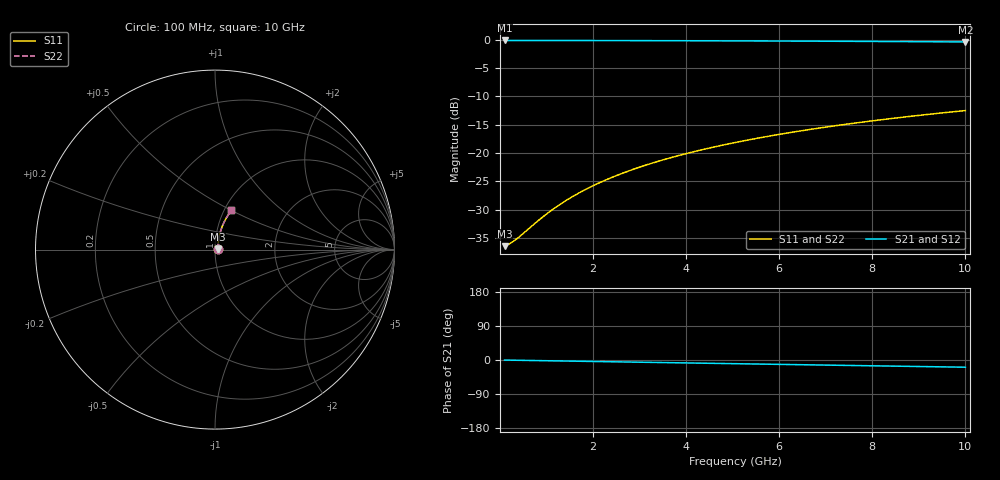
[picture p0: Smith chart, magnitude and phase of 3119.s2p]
# Hz S RI R 50.00
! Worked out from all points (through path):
!   100 points, 100 MHz to 10 GHz, reference 50 ohm
!   highest |S21| = -0.13 dB at 100 MHz (marker M1); lowest = -0.4 dB at 10 GHz (marker M2)
!   group delay of S21, straight-line fit = 5.29 ps
!   lowest |S11| = -36.5 dB at 100 MHz (marker M3), VSWR 1.03, Z = 51.5 + j0.247 ohm
!   |S11| at or under -10 dB: start of sweep to end of sweep
!   |S22| runs from -36.5 to -12.5 dB; largest |S21 - S12| = 0
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1e8  0.0148 0.0024  0.9852 -0.00333  0.9852 -0.00333  0.0148 0.0024
2e8  0.0149 0.0048  0.9851 -0.00666  0.9851 -0.00666  0.0149 0.0048
3e8  0.0151 0.0072  0.9849 -0.00999  0.9849 -0.00999  0.0151 0.0072
4e8  0.0152 0.0096  0.9848 -0.0133  0.9848 -0.0133  0.0152 0.0096
9e8  0.0159 0.0216  0.9841 -0.0299  0.9841 -0.0299  0.0159 0.0216
1.2e9  0.0165 0.0287  0.9834 -0.0399  0.9834 -0.0399  0.0165 0.0287
1.5e9  0.0172 0.0359  0.9827 -0.0498  0.9827 -0.0498  0.0172 0.0359
1.8e9  0.0181 0.043  0.9818 -0.0597  0.9818 -0.0597  0.0181 0.043
2.1e9  0.0191 0.0501  0.9807 -0.0696  0.9807 -0.0696  0.0191 0.0501
2.5e9  0.0206 0.0596  0.9791 -0.0828  0.9791 -0.0828  0.0206 0.0596
2.9e9  0.0224 0.0689  0.9772 -0.0959  0.9772 -0.0959  0.0224 0.0689
3.4e9  0.025 0.0806  0.9745 -0.1122  0.9745 -0.1122  0.025 0.0806
3.8e9  0.0273 0.0898  0.972 -0.1251  0.972 -0.1251  0.0273 0.0898
4.2e9  0.0299 0.0989  0.9693 -0.138  0.9693 -0.138  0.0299 0.0989
4.6e9  0.0327 0.108  0.9663 -0.1508  0.9663 -0.1508  0.0327 0.108
5.1e9  0.0366 0.1192  0.9622 -0.1666  0.9622 -0.1666  0.0366 0.1192
5.9e9  0.0435 0.1367  0.9549 -0.1917  0.9549 -0.1917  0.0435 0.1367
6.7e9  0.0513 0.1538  0.9467 -0.2162  0.9467 -0.2162  0.0513 0.1538
7.5e9  0.0599 0.1704  0.9375 -0.2403  0.9375 -0.2403  0.0599 0.1704
8.4e9  0.0706 0.1883  0.9262 -0.2666  0.9262 -0.2666  0.0706 0.1883
9.2e9  0.0809 0.2036  0.9153 -0.2894  0.9153 -0.2894  0.0809 0.2036
1e10  0.0918 0.2182  0.9037 -0.3116  0.9037 -0.3116  0.0918 0.2182
